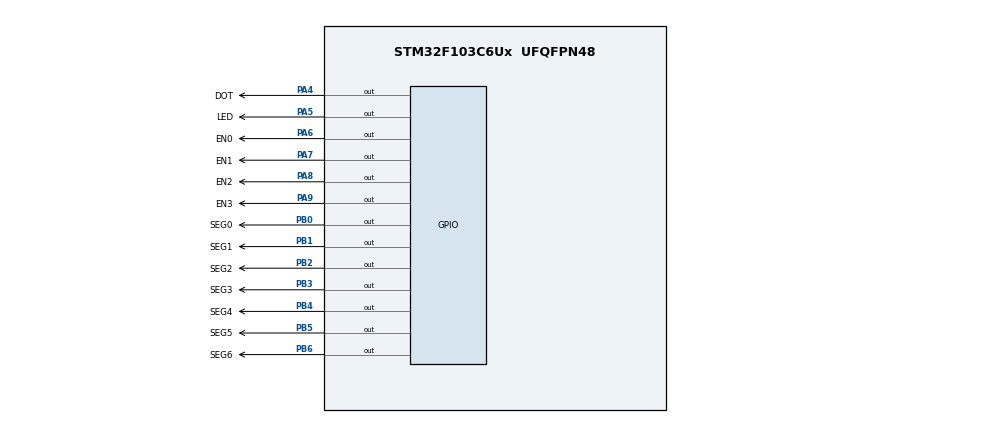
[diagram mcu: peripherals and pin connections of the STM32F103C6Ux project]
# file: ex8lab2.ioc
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Mcu.Family=STM32F1
Mcu.Name=STM32F103C6Ux
Mcu.Package=UFQFPN48
NVIC.PriorityGroup=NVIC_PRIORITYGROUP_4
NVIC.TIM2_IRQn=true\:0\:0\:false\:false\:true\:true\:true
PA4.GPIO_Label=DOT
PA4.Signal=GPIO_Output
PA5.GPIO_Label=LED
PA5.Signal=GPIO_Output
PA6.GPIO_Label=EN0
PA6.Signal=GPIO_Output
PA7.GPIO_Label=EN1
PA7.Signal=GPIO_Output
PA8.GPIO_Label=EN2
PA8.Signal=GPIO_Output
PA9.GPIO_Label=EN3
PA9.Signal=GPIO_Output
PB0.GPIO_Label=SEG0
PB0.Signal=GPIO_Output
PB1.GPIO_Label=SEG1
PB1.Signal=GPIO_Output
PB2.GPIO_Label=SEG2
PB2.Signal=GPIO_Output
PB3.GPIO_Label=SEG3
PB3.Signal=GPIO_Output
PB4.GPIO_Label=SEG4
PB4.Signal=GPIO_Output
PB5.GPIO_Label=SEG5
PB5.Signal=GPIO_Output
PB6.GPIO_Label=SEG6
PB6.Signal=GPIO_Output
ProjectManager.HeapSize=0x200
ProjectManager.StackSize=0x400
ProjectManager.TargetToolchain=STM32CubeIDE
RCC.APB1Freq_Value=8000000
RCC.APB2Freq_Value=8000000
TIM2.Period=9
TIM2.Prescaler=7999
VP_SYS_VS_ND.Mode=No_Debug
VP_TIM2_VS_ClockSourceINT.Mode=Internal
board=custom

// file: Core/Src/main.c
/* USER CODE BEGIN Header */
/**
  ******************************************************************************
  * @file           : main.c
  * @brief          : Lab 2 - Exercise 8: Minimal ISR with Non-blocking Main Loop
  ******************************************************************************
  */
/* USER CODE END Header */

#include "main.h"

TIM_HandleTypeDef htim2;

/* USER CODE BEGIN PV */
// --- Software Timer Configurations (1 tick = 10ms) ---
int TIMER_CYCLE = 10;

int timer1_counter = 0;
int timer1_flag = 0;

int timer2_counter = 0;
int timer2_flag = 0;

// --- Digital Clock Variables ---
int hour = 15;
int minute = 8;
int second = 50;

// --- Display Variables ---
int index_led = 0;
int led_buffer[4] = {1, 5, 0, 8}; // Initial display array (15:08)
/* USER CODE END PV */

void SystemClock_Config(void);
static void MX_GPIO_Init(void);
static void MX_TIM2_Init(void);

/* USER CODE BEGIN PFP */
void setTimer1(int duration);
void setTimer2(int duration);
void timerRun(void);

void display7SEG(int num);
void update7SEG(int index);
void updateClockBuffer(void);
/* USER CODE END PFP */

/* USER CODE BEGIN 0 */
// --- Software Timer Initializations ---
void setTimer1(int duration) {
    timer1_counter = duration / TIMER_CYCLE;
    timer1_flag = 0;
}

void setTimer2(int duration) {
    timer2_counter = duration / TIMER_CYCLE;
    timer2_flag = 0;
}

// --- Software Timer Tick Generator ---
void timerRun(void) {
    if (timer1_counter > 0) {
        timer1_counter--;
        if (timer1_counter <= 0) {
            timer1_flag = 1;
        }
    }

    if (timer2_counter > 0) {
        timer2_counter--;
        if (timer2_counter <= 0) {
            timer2_flag = 1;
        }
    }
}

// --- Clock Logic and BCD Buffer Update ---
void updateClockBuffer(void) {
    second++;
    if (second >= 60) {
        second = 0;
        minute++;
        if (minute >= 60) {
            minute = 0;
            hour++;
            if (hour >= 24) {
                hour = 0;
            }
        }
    }

    led_buffer[0] = hour / 10;
    led_buffer[1] = hour % 10;
    led_buffer[2] = minute / 10;
    led_buffer[3] = minute % 10;
}

// --- Common Anode 7-Segment Decoder ---
void display7SEG(int num) {
    uint8_t segmentNumber[10] = {
        0b00111111, // 0
        0b00000110, // 1
        0b01011011, // 2
        0b01001111, // 3
        0b01100110, // 4
        0b01101101, // 5
        0b01111101, // 6
        0b00000111, // 7
        0b01111111, // 8
        0b01101111  // 9
    };

    if (num >= 0 && num <= 9) {
        uint8_t data = ~segmentNumber[num];
        for (int i = 0; i < 7; i++) {
            HAL_GPIO_WritePin(GPIOB, GPIO_PIN_0 << i, (data >> i) & 0b00000001);
        }
    }
}

// --- Multiplexing Display Driver ---
void update7SEG(int index) {
    // Turn off all 4 PNP Transistors to eliminate ghosting
    HAL_GPIO_WritePin(GPIOA, GPIO_PIN_6 | GPIO_PIN_7 | GPIO_PIN_8 | GPIO_PIN_9, GPIO_PIN_SET);

    switch (index) {
        case 0:
            display7SEG(led_buffer[0]);
            HAL_GPIO_WritePin(GPIOA, GPIO_PIN_6, GPIO_PIN_RESET); // PA6 - EN0
            break;
        case 1:
            display7SEG(led_buffer[1]);
            HAL_GPIO_WritePin(GPIOA, GPIO_PIN_7, GPIO_PIN_RESET); // PA7 - EN1
            break;
        case 2:
            display7SEG(led_buffer[2]);
            HAL_GPIO_WritePin(GPIOA, GPIO_PIN_8, GPIO_PIN_RESET); // PA8 - EN2
            break;
        case 3:
            display7SEG(led_buffer[3]);
            HAL_GPIO_WritePin(GPIOA, GPIO_PIN_9, GPIO_PIN_RESET); // PA9 - EN3
            break;
        default:
            break;
    }
}

// --- Hardware TIM2 ISR: Minimally scoped to software timer counting ---
void HAL_TIM_PeriodElapsedCallback(TIM_HandleTypeDef *htim) {
    if (htim->Instance == TIM2) {
        timerRun();
    }
}
/* USER CODE END 0 */

int main(void)
{
  /* MCU Configuration */
  HAL_Init();
  SystemClock_Config();

  /* Initialize all configured peripherals */
  MX_GPIO_Init();
  MX_TIM2_Init();

  /* USER CODE BEGIN 2 */
  // Start Hardware Timer 2 Interrupt
  HAL_TIM_Base_Start_IT(&htim2);

  // Initialize Software Timers (milliseconds)
  setTimer1(250);  // 250ms for 7-segment display scanning
  setTimer2(1000); // 1000ms for digital clock tick and DOT toggle
  /* USER CODE END 2 */

  /* Infinite loop */
  /* USER CODE BEGIN WHILE */
  while (1)
  {
    /* Task 1: 7-segment display scanning (every 250ms) */
    if (timer1_flag == 1) {
        setTimer1(250);              // Re-arm software timer 1
        update7SEG(index_led);      // Refresh current digit
        index_led = (index_led + 1) % 4; // Advance display index
    }

    /* Task 2: Digital clock update & DOT LED toggle (every 1000ms) */
    if (timer2_flag == 1) {
        setTimer2(1000);             // Re-arm software timer 2
        updateClockBuffer();        // Update hour/minute/second counters
        HAL_GPIO_TogglePin(GPIOA, GPIO_PIN_4); // Toggle DOT LEDs
    }
    /* USER CODE END WHILE */

  }
}

void SystemClock_Config(void)
{
  RCC_OscInitTypeDef RCC_OscInitStruct = {0};
  RCC_ClkInitTypeDef RCC_ClkInitStruct = {0};

  RCC_OscInitStruct.OscillatorType = RCC_OSCILLATORTYPE_HSI;
  RCC_OscInitStruct.HSIState = RCC_HSI_ON;
  RCC_OscInitStruct.HSICalibrationValue = RCC_HSICALIBRATION_DEFAULT;
  RCC_OscInitStruct.PLL.PLLState = RCC_PLL_NONE;
  if (HAL_RCC_OscConfig(&RCC_OscInitStruct) != HAL_OK)
  {
    Error_Handler();
  }

  RCC_ClkInitStruct.ClockType = RCC_CLOCKTYPE_HCLK|RCC_CLOCKTYPE_SYSCLK
                              |RCC_CLOCKTYPE_PCLK1|RCC_CLOCKTYPE_PCLK2;
  RCC_ClkInitStruct.SYSCLKSource = RCC_SYSCLKSOURCE_HSI;
  RCC_ClkInitStruct.AHBCLKDivider = RCC_SYSCLK_DIV1;
  RCC_ClkInitStruct.APB1CLKDivider = RCC_HCLK_DIV1;
  RCC_ClkInitStruct.APB2CLKDivider = RCC_HCLK_DIV1;

  if (HAL_RCC_ClockConfig(&RCC_ClkInitStruct, FLASH_LATENCY_0) != HAL_OK)
  {
    Error_Handler();
  }
}

static void MX_TIM2_Init(void)
{
  TIM_ClockConfigTypeDef sClockSourceConfig = {0};
  TIM_MasterConfigTypeDef sMasterConfig = {0};

  htim2.Instance = TIM2;
  htim2.Init.Prescaler = 7999;
  htim2.Init.CounterMode = TIM_COUNTERMODE_UP;
  htim2.Init.Period = 9;
  htim2.Init.ClockDivision = TIM_CLOCKDIVISION_DIV1;
  htim2.Init.AutoReloadPreload = TIM_AUTORELOAD_PRELOAD_DISABLE;
  if (HAL_TIM_Base_Init(&htim2) != HAL_OK)
  {
    Error_Handler();
  }
  sClockSourceConfig.ClockSource = TIM_CLOCKSOURCE_INTERNAL;
  if (HAL_TIM_ConfigClockSource(&htim2, &sClockSourceConfig) != HAL_OK)
  {
    Error_Handler();
  }
  sMasterConfig.MasterOutputTrigger = TIM_TRGO_RESET;
  sMasterConfig.MasterSlaveMode = TIM_MASTERSLAVEMODE_DISABLE;
  if (HAL_TIMEx_MasterConfigSynchronization(&htim2, &sMasterConfig) != HAL_OK)
  {
    Error_Handler();
  }
}

static void MX_GPIO_Init(void)
{
  GPIO_InitTypeDef GPIO_InitStruct = {0};

  /* GPIO Ports Clock Enable */
  __HAL_RCC_GPIOA_CLK_ENABLE();
  __HAL_RCC_GPIOB_CLK_ENABLE();
  __HAL_RCC_AFIO_CLK_ENABLE();

  /* Disable JTAG to release PB3 and PB4 */
  __HAL_AFIO_REMAP_SWJ_NOJTAG();

  /* Initial output level on GPIOA */
  HAL_GPIO_WritePin(GPIOA, GPIO_PIN_4|GPIO_PIN_5, GPIO_PIN_RESET);
  HAL_GPIO_WritePin(GPIOA, GPIO_PIN_6|GPIO_PIN_7|GPIO_PIN_8|GPIO_PIN_9, GPIO_PIN_SET);

  /* Initial output level on GPIOB */
  HAL_GPIO_WritePin(GPIOB, GPIO_PIN_0|GPIO_PIN_1|GPIO_PIN_2|GPIO_PIN_3
                          |GPIO_PIN_4|GPIO_PIN_5|GPIO_PIN_6, GPIO_PIN_RESET);

  /* Configure GPIO pins : PA4 to PA9 */
  GPIO_InitStruct.Pin = GPIO_PIN_4|GPIO_PIN_5|GPIO_PIN_6|GPIO_PIN_7
                          |GPIO_PIN_8|GPIO_PIN_9;
  GPIO_InitStruct.Mode = GPIO_MODE_OUTPUT_PP;
  GPIO_InitStruct.Pull = GPIO_NOPULL;
  GPIO_InitStruct.Speed = GPIO_SPEED_FREQ_LOW;
  HAL_GPIO_Init(GPIOA, &GPIO_InitStruct);

  /* Configure GPIO pins : PB0 to PB6 */
  GPIO_InitStruct.Pin = GPIO_PIN_0|GPIO_PIN_1|GPIO_PIN_2|GPIO_PIN_3
                          |GPIO_PIN_4|GPIO_PIN_5|GPIO_PIN_6;
  GPIO_InitStruct.Mode = GPIO_MODE_OUTPUT_PP;
  GPIO_InitStruct.Pull = GPIO_NOPULL;
  GPIO_InitStruct.Speed = GPIO_SPEED_FREQ_LOW;
  HAL_GPIO_Init(GPIOB, &GPIO_InitStruct);
}

void Error_Handler(void)
{
  __disable_irq();
  while (1)
  {
  }
}
